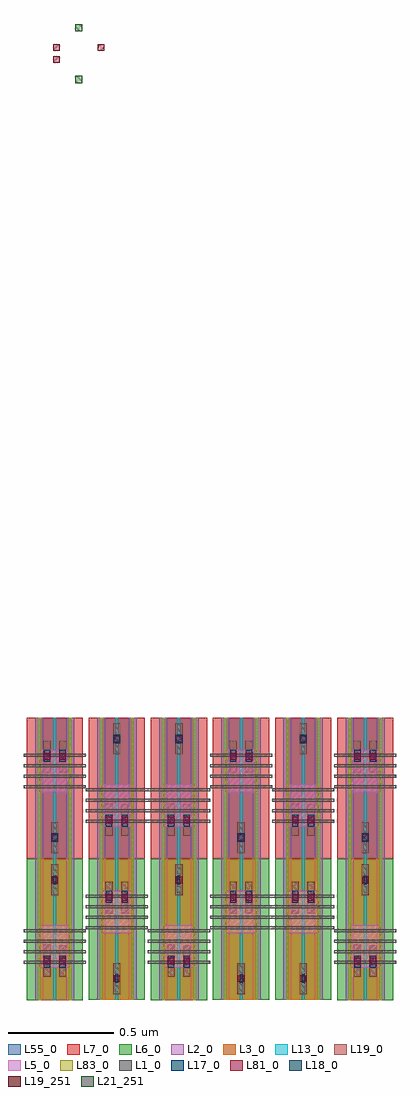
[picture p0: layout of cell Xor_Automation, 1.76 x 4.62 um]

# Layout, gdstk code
import gdstk
lib = gdstk.Library(unit=1e-6, precision=1e-09)
def R(c, l, rs):  # rectangles x0, y0, x1, y1
    for r in rs: c.add(gdstk.rectangle(r[:2], r[2:], *l))
def A(c, l, x, y, w, h, nx, ny, dx, dy):  # array of equal rectangles
    R(c, l, [(x+i*dx, y+j*dy, x+i*dx+w, y+j*dy+h) for i in range(nx) for j in range(ny)])
L1_0 = (1, 0)
L2_0 = (2, 0)
L3_0 = (3, 0)
L5_0 = (5, 0)
L6_0 = (6, 0)
L7_0 = (7, 0)
L13_0 = (13, 0)
L17_0 = (17, 0)
L18_0 = (18, 0)
L19_0 = (19, 0)
L19_251 = (19, 251)
L21_251 = (21, 251)
L55_0 = (55, 0)
L81_0 = (81, 0)
L83_0 = (83, 0)

nfet_pcell_87be = lib.new_cell('nfet_pcell_87be')
A(nfet_pcell_87be, L1_0, -0.14, 0, 0.294, 0.014, 1, 4, 0, 0.05)
R(nfet_pcell_87be, L2_0, [(-0.086,-0.333,-0.048,0.335), (0.062,-0.333,0.1,0.335)])
R(nfet_pcell_87be, L5_0, [(-0.067,-0.018,0,0.182), (0,-0.018,0.014,0.182), (0.014,-0.018,0.081,0.182)])
R(nfet_pcell_87be, L7_0, [(-0.126,-0.333,0.14,0.335)])
A(nfet_pcell_87be, L13_0, -0.074, -0.333, 0.014, 0.668, 3, 1, 0.074, 0)
R(nfet_pcell_87be, L13_0, [(-0.074,-0.333,-0.06,0.335), (0.074,-0.333,0.088,0.335)])
R(nfet_pcell_87be, L17_0, [(-0.045,0.125,-0.015,0.182), (0.029,0.125,0.059,0.182)])
R(nfet_pcell_87be, L18_0, [(-0.01,-0.254,0.024,-0.214)])
R(nfet_pcell_87be, L19_0, [(-0.01,-0.308,0.024,-0.16), (-0.01,-0.308,0.024,-0.16), (-0.047,0.074,-0.013,0.226), (-0.047,0.076,-0.013,0.224), (0.027,0.076,0.061,0.224), (0.027,0.08,0.061,0.22)])
R(nfet_pcell_87be, L55_0, [(-0.067,-0.333,0.081,0.335)])
R(nfet_pcell_87be, L81_0, [(-0.008,-0.249,0.022,-0.219), (-0.045,0.135,-0.015,0.165), (0.029,0.135,0.059,0.165)])
R(nfet_pcell_87be, L83_0, [(-0.074,-0.333,-0.06,0.335), (0.074,-0.333,0.088,0.335)])

pfet_pcell_d69f = lib.new_cell('pfet_pcell_d69f')
A(pfet_pcell_d69f, L1_0, -0.14, 0, 0.294, 0.014, 1, 4, 0, 0.05)
R(pfet_pcell_d69f, L2_0, [(-0.086,-0.333,-0.048,0.335), (0.062,-0.333,0.1,0.335)])
R(pfet_pcell_d69f, L3_0, [(-0.067,-0.333,0.081,0.335)])
R(pfet_pcell_d69f, L5_0, [(-0.067,-0.018,0,0.182), (0,-0.018,0.014,0.182), (0.014,-0.018,0.081,0.182)])
R(pfet_pcell_d69f, L6_0, [(-0.126,-0.333,0.14,0.335)])
A(pfet_pcell_d69f, L13_0, -0.074, -0.333, 0.014, 0.668, 3, 1, 0.074, 0)
R(pfet_pcell_d69f, L13_0, [(-0.074,-0.333,-0.06,0.335), (0.074,-0.333,0.088,0.335)])
R(pfet_pcell_d69f, L17_0, [(-0.045,0.125,-0.015,0.182), (0.029,0.125,0.059,0.182)])
R(pfet_pcell_d69f, L18_0, [(0,-0.254,0.014,-0.214)])
R(pfet_pcell_d69f, L19_0, [(-0.01,-0.308,0.024,-0.16), (-0.01,-0.308,0.024,-0.16), (-0.047,0.074,-0.013,0.226), (-0.047,0.076,-0.013,0.224), (0.027,0.076,0.061,0.224), (0.027,0.08,0.061,0.22)])
R(pfet_pcell_d69f, L55_0, [(-0.067,-0.333,0.081,0.335)])
R(pfet_pcell_d69f, L81_0, [(-0.008,-0.249,0.022,-0.219), (-0.045,0.135,-0.015,0.165), (0.029,0.135,0.059,0.165)])
R(pfet_pcell_d69f, L83_0, [(-0.074,-0.333,-0.06,0.335), (0.074,-0.333,0.088,0.335)])

xor_automation = lib.new_cell('Xor_Automation')
R(xor_automation, L19_251, [(0,0.097,0.03,0.127), (0,0.153,0.03,0.183), (0.21,0.153,0.24,0.183)])
R(xor_automation, L21_251, [(0.103,0,0.137,0.034), (0.103,0.246,0.137,0.28)])
xor_automation.add(gdstk.Reference(nfet_pcell_87be, (0,-3.34)))
xor_automation.add(gdstk.Reference(nfet_pcell_87be, (1.176,-3.34), x_reflection=True))
xor_automation.add(gdstk.Reference(nfet_pcell_87be, (1.47,-3.34)))
xor_automation.add(gdstk.Reference(nfet_pcell_87be, (0.882,-3.34)))
xor_automation.add(gdstk.Reference(nfet_pcell_87be, (0.588,-3.34), x_reflection=True))
xor_automation.add(gdstk.Reference(nfet_pcell_87be, (0.294,-3.34), x_reflection=True))
xor_automation.add(gdstk.Reference(pfet_pcell_d69f, (0.294,-4.008)))
xor_automation.add(gdstk.Reference(pfet_pcell_d69f, (0.588,-4.008), x_reflection=True))
xor_automation.add(gdstk.Reference(pfet_pcell_d69f, (1.47,-4.008), x_reflection=True))
xor_automation.add(gdstk.Reference(pfet_pcell_d69f, (0,-4.008), x_reflection=True))
xor_automation.add(gdstk.Reference(pfet_pcell_d69f, (0.882,-4.008)))
xor_automation.add(gdstk.Reference(pfet_pcell_d69f, (1.176,-4.008)))

lib.write_gds('Xor_Automation.gds')
